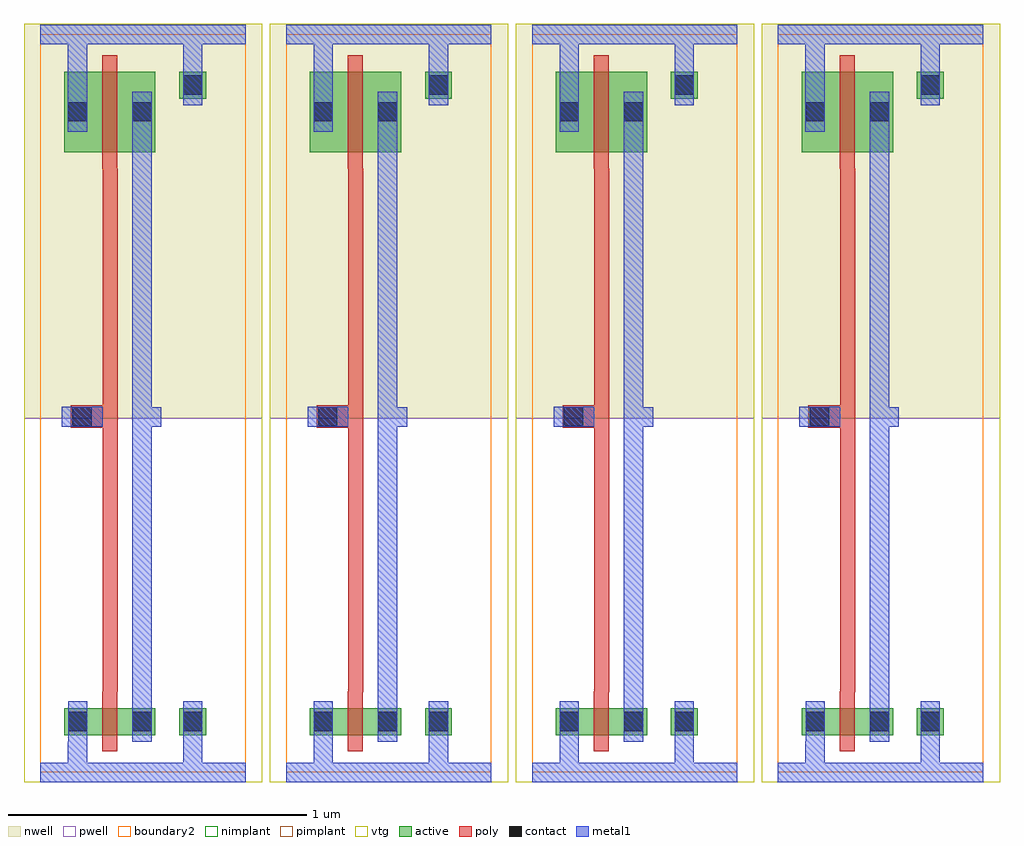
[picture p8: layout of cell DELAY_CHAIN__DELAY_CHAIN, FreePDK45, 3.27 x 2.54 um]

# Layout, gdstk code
import gdstk
lib = gdstk.Library(unit=1e-6, precision=1e-09)
def R(c, l, rs):  # rectangles x0, y0, x1, y1
    for r in rs: c.add(gdstk.rectangle(r[:2], r[2:], *l))
active = (1, 0)
pwell = (2, 0)
nwell = (3, 0)
nimplant = (4, 0)
pimplant = (5, 0)
vtg = (6, 0)
poly = (9, 0)
contact = (10, 0)
metal1 = (11, 0)
boundary2 = (239, 0)

delay_chain__sram_1rw_32 = lib.new_cell('DELAY_CHAIN__sram_1rw_32x16_freepdk45_contact_11')
R(delay_chain__sram_1rw_32, active, [(0,0.022,0.09,0.112)])
R(delay_chain__sram_1rw_32, nwell, [(-0.055,-0.033,0.145,0.168)])
R(delay_chain__sram_1rw_32, pimplant, [(0,0.022,0.09,0.112)])
R(delay_chain__sram_1rw_32, contact, [(0.013,0.035,0.077,0.1)])
R(delay_chain__sram_1rw_32, metal1, [(0.013,0,0.077,0.135)])
R(delay_chain__sram_1rw_32, boundary2, [(-0.055,-0.033,0.145,0.168)])

c_delay_chain__sram_1rw_32 = lib.new_cell('DELAY_CHAIN__sram_1rw_32x16_freepdk45_pmos_m1_w0_270_sm1_dm1_da_p')
R(c_delay_chain__sram_1rw_32, active, [(0,0,0.305,0.27)])
R(c_delay_chain__sram_1rw_32, nwell, [(-0.08,-0.08,0.385,0.35)])
R(c_delay_chain__sram_1rw_32, pimplant, [(0,0,0.305,0.27)])
R(c_delay_chain__sram_1rw_32, vtg, [(-0.08,-0.08,0.385,0.35)])
R(c_delay_chain__sram_1rw_32, poly, [(0.127,-0.055,0.177,0.325), (0.127,-0.055,0.177,0.325)])
R(c_delay_chain__sram_1rw_32, metal1, [(0.013,0.068,0.077,0.203), (0.227,0.068,0.292,0.203)])
R(c_delay_chain__sram_1rw_32, boundary2, [(-0.08,-0.08,0.385,0.35)])
c_delay_chain__sram_1rw_32.add(gdstk.Reference(delay_chain__sram_1rw_32, (0,0.068)))
c_delay_chain__sram_1rw_32.add(gdstk.Reference(delay_chain__sram_1rw_32, (0.215,0.068)))
c_delay_chain__sram_1rw_32.add(gdstk.Label('G', (0.152,0.135), layer=9, texttype=0))
c_delay_chain__sram_1rw_32.add(gdstk.Label('S', (0.045,0.135), layer=11, texttype=0))
c_delay_chain__sram_1rw_32.add(gdstk.Label('D', (0.26,0.135), layer=11, texttype=0))

c_delay_chain__sram_1rw_32_ = lib.new_cell('DELAY_CHAIN__sram_1rw_32x16_freepdk45_contact_10')
R(c_delay_chain__sram_1rw_32_, active, [(0,0.022,0.09,0.112)])
R(c_delay_chain__sram_1rw_32_, pwell, [(-0.055,-0.033,0.145,0.168)])
R(c_delay_chain__sram_1rw_32_, nimplant, [(0,0.022,0.09,0.112)])
R(c_delay_chain__sram_1rw_32_, contact, [(0.013,0.035,0.077,0.1)])
R(c_delay_chain__sram_1rw_32_, metal1, [(0.013,0,0.077,0.135)])
R(c_delay_chain__sram_1rw_32_, boundary2, [(-0.055,-0.033,0.145,0.168)])

c_delay_chain__sram_1rw_32__ = lib.new_cell('DELAY_CHAIN__sram_1rw_32x16_freepdk45_nmos_m1_w0_090_sm1_dm1_da_p')
R(c_delay_chain__sram_1rw_32__, active, [(0,0,0.305,0.09)])
R(c_delay_chain__sram_1rw_32__, pwell, [(-0.08,-0.08,0.385,0.17)])
R(c_delay_chain__sram_1rw_32__, nimplant, [(0,0,0.305,0.09)])
R(c_delay_chain__sram_1rw_32__, vtg, [(-0.08,-0.08,0.385,0.17)])
R(c_delay_chain__sram_1rw_32__, poly, [(0.127,-0.055,0.177,0.145), (0.127,-0.055,0.177,0.145)])
R(c_delay_chain__sram_1rw_32__, metal1, [(0.013,-0.022,0.077,0.112), (0.227,-0.022,0.292,0.112)])
R(c_delay_chain__sram_1rw_32__, boundary2, [(-0.08,-0.08,0.385,0.17)])
c_delay_chain__sram_1rw_32__.add(gdstk.Reference(c_delay_chain__sram_1rw_32_, (0,-0.022)))
c_delay_chain__sram_1rw_32__.add(gdstk.Reference(c_delay_chain__sram_1rw_32_, (0.215,-0.022)))
c_delay_chain__sram_1rw_32__.add(gdstk.Label('G', (0.152,0.045), layer=9, texttype=0))
c_delay_chain__sram_1rw_32__.add(gdstk.Label('S', (0.045,0.045), layer=11, texttype=0))
c_delay_chain__sram_1rw_32__.add(gdstk.Label('D', (0.26,0.045), layer=11, texttype=0))

c_delay_chain__sram_1rw_32___ = lib.new_cell('DELAY_CHAIN__sram_1rw_32x16_freepdk45_contact_12')
R(c_delay_chain__sram_1rw_32___, active, [(0,0.022,0.09,0.112)])
R(c_delay_chain__sram_1rw_32___, nwell, [(-0.055,-0.033,0.145,0.168)])
R(c_delay_chain__sram_1rw_32___, nimplant, [(0,0.022,0.09,0.112)])
R(c_delay_chain__sram_1rw_32___, contact, [(0.013,0.035,0.077,0.1)])
R(c_delay_chain__sram_1rw_32___, metal1, [(0.013,0,0.077,0.135)])
R(c_delay_chain__sram_1rw_32___, boundary2, [(-0.055,-0.033,0.145,0.168)])

c_delay_chain__sram_1rw_32____ = lib.new_cell('DELAY_CHAIN__sram_1rw_32x16_freepdk45_contact_13')
R(c_delay_chain__sram_1rw_32____, active, [(0,0.022,0.09,0.112)])
R(c_delay_chain__sram_1rw_32____, pwell, [(-0.055,-0.033,0.145,0.168)])
R(c_delay_chain__sram_1rw_32____, pimplant, [(0,0.022,0.09,0.112)])
R(c_delay_chain__sram_1rw_32____, contact, [(0.013,0.035,0.077,0.1)])
R(c_delay_chain__sram_1rw_32____, metal1, [(0.013,0,0.077,0.135)])
R(c_delay_chain__sram_1rw_32____, boundary2, [(-0.055,-0.033,0.145,0.168)])

c_delay_chain__sram_1rw_32_____ = lib.new_cell('DELAY_CHAIN__sram_1rw_32x16_freepdk45_contact_14')
R(c_delay_chain__sram_1rw_32_____, poly, [(0.03,0,0.105,0.075)])
R(c_delay_chain__sram_1rw_32_____, contact, [(0.035,0.005,0.1,0.07)])
R(c_delay_chain__sram_1rw_32_____, metal1, [(0,0.005,0.135,0.07)])
R(c_delay_chain__sram_1rw_32_____, boundary2, [(0,0,0.135,0.075)])

delay_chain__gen_delay_i = lib.new_cell('DELAY_CHAIN__gen_delay_inv')
R(delay_chain__gen_delay_i, pwell, [(-0.055,-0.033,0.743,1.185)])
R(delay_chain__gen_delay_i, nwell, [(-0.055,1.185,0.743,2.505)])
R(delay_chain__gen_delay_i, vtg, [(-0.055,-0.033,0.743,1.185), (-0.055,1.185,0.743,2.505)])
R(delay_chain__gen_delay_i, poly, [(0.208,0.27,0.258,2.02), (0.14,1.153,0.208,1.228)])
R(delay_chain__gen_delay_i, metal1, [(0,-0.033,0.687,0.033), (0.092,-0.033,0.157,0.103), (0.478,0,0.542,0.17), (0.307,0.103,0.372,2.277), (0.072,1.157,0.208,1.222), (0.34,1.157,0.405,1.222), (0.092,2.143,0.157,2.502), (0.478,2.3,0.542,2.47), (0,2.437,0.687,2.502)])
R(delay_chain__gen_delay_i, boundary2, [(0,0,0.687,2.47), (0,0,0.687,2.47)])
delay_chain__gen_delay_i.add(gdstk.Reference(c_delay_chain__sram_1rw_32, (0.08,2.075)))
delay_chain__gen_delay_i.add(gdstk.Reference(c_delay_chain__sram_1rw_32__, (0.08,0.125)))
delay_chain__gen_delay_i.add(gdstk.Reference(c_delay_chain__sram_1rw_32___, (0.465,2.232)))
delay_chain__gen_delay_i.add(gdstk.Reference(c_delay_chain__sram_1rw_32____, (0.465,0.103)))
delay_chain__gen_delay_i.add(gdstk.Reference(c_delay_chain__sram_1rw_32_____, (0.072,1.153)))
delay_chain__gen_delay_i.add(gdstk.Label('A', (0.14,1.19), layer=11, texttype=0))
delay_chain__gen_delay_i.add(gdstk.Label('Z', (0.372,1.19), layer=11, texttype=0))
delay_chain__gen_delay_i.add(gdstk.Label('gnd', (0.345,0), layer=11, texttype=0))
delay_chain__gen_delay_i.add(gdstk.Label('vdd', (0.345,2.47), layer=11, texttype=0))

delay_chain__delay_chain = lib.new_cell('DELAY_CHAIN__DELAY_CHAIN')
delay_chain__delay_chain.add(gdstk.Reference(delay_chain__gen_delay_i, (0.08,0.08)))
delay_chain__delay_chain.add(gdstk.Reference(delay_chain__gen_delay_i, (0.902,0.08)))
delay_chain__delay_chain.add(gdstk.Reference(delay_chain__gen_delay_i, (1.725,0.08)))
delay_chain__delay_chain.add(gdstk.Reference(delay_chain__gen_delay_i, (2.548,0.08)))

lib.write_gds('DELAY_CHAIN__DELAY_CHAIN.gds')
